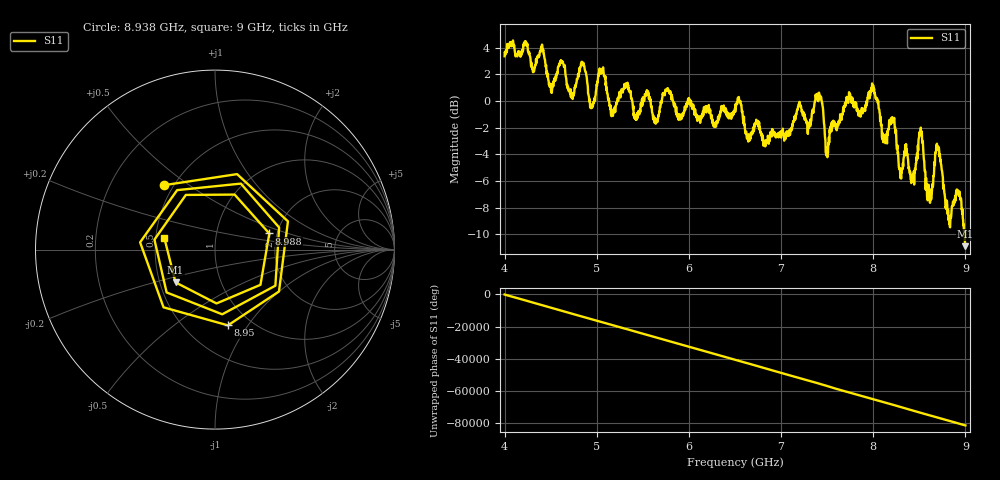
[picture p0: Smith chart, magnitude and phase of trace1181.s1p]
! Created with skrf 1.8.0 (http://scikit-rf.org).
# Hz S RI R 50.0
!freq ReS11 ImS11
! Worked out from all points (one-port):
!   1601 points, 4 GHz to 9 GHz, reference 50 ohm
!   lowest |S11| = -10.9 dB at 8.997 GHz (marker M1), VSWR 1.80, Z = 30.2 - j12 ohm
!   |S11| at or under -10 dB: 8.98775 GHz to 8.988381 GHz (630.1 kHz wide, 0.00701 % of centre); 8.991601 GHz to end of sweep
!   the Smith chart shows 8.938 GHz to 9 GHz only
!   S11 on the Smith chart (normalised r, x): 8.938 GHz: 0.45, +0.40; 8.95 GHz: 0.79, -0.81; 8.988 GHz: 1.82, +0.36; 9 GHz: 0.55, +0.08
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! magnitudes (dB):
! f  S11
! 4 GHz  3.4
! 4.625 GHz  3.0
! 4.728 GHz  0.5
! 4.844 GHz  2.9
! 4.944 GHz  -0.5
! 5.047 GHz  2.1
! 5.162 GHz  -0.8
! 5.25 GHz  0.4
! 5.875 GHz  -1.1
! 6.5 GHz  -0.5
! 6.828 GHz  -3.4
! 7.125 GHz  -1.9
! 7.412 GHz  0.6
! 7.5 GHz  -4.2
! 7.75 GHz  0.5
! 7.997 GHz  1.1
! 8.112 GHz  -2.6
! 8.375 GHz  -4.3
! 8.431 GHz  -6.0
! 8.516 GHz  -2.0
! 8.609 GHz  -7.2
! 8.697 GHz  -3.4
! 8.812 GHz  -8.2
! 8.938 GHz  -6.8
! 8.95 GHz  -7.4
! 8.988 GHz  -10.0
! 8.997 GHz  -10.9
! 9 GHz  -10.7
